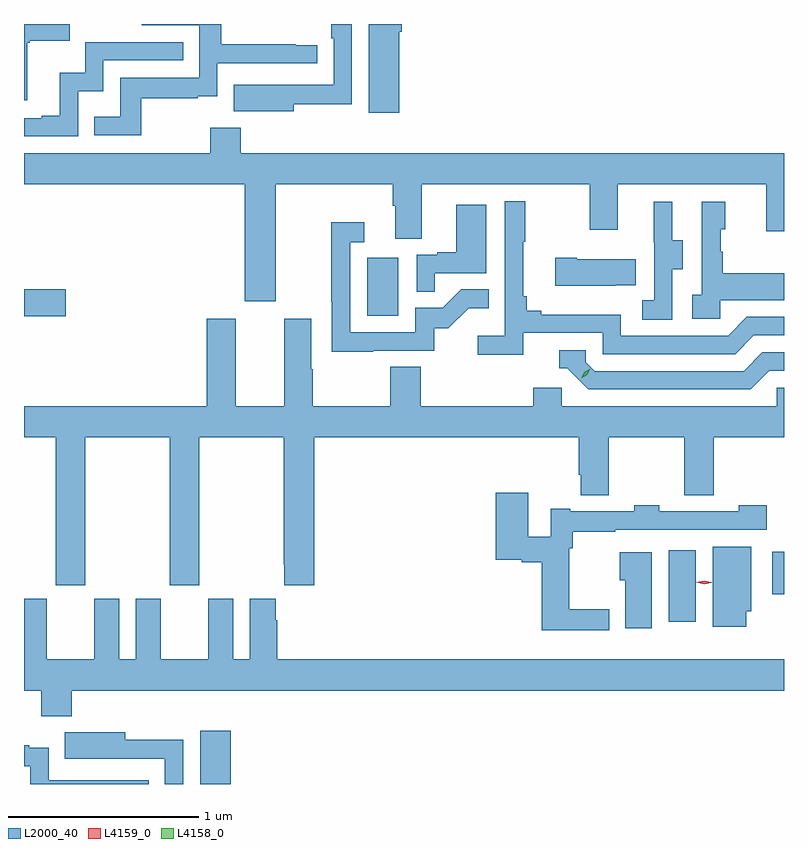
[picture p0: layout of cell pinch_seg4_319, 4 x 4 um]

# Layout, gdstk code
import gdstk
lib = gdstk.Library(unit=1e-6, precision=1e-09)
def R(c, l, rs):  # rectangles x0, y0, x1, y1
    for r in rs: c.add(gdstk.rectangle(r[:2], r[2:], *l))
def P(c, l, *ps):  # polygons
    for p in ps: c.add(gdstk.Polygon(p, *l))
L2000_40 = (2000, 40)
L4158_0 = (4158, 0)
L4159_0 = (4159, 0)

pinch_seg4_319 = lib.new_cell('pinch_seg4_319')
R(pinch_seg4_319, L2000_40, [(891.713,797.66,891.874,797.941), (894.179,798.513,894.322,798.889), (894.725,798.659,894.786,798.883), (890.786,800.122,891.007,800.264), (892.592,800.124,892.756,800.431)])
P(pinch_seg4_319, L2000_40, [(892.762,801.618),(892.774,801.618),(892.774,801.66),(892.601,801.66),(892.601,801.192),(892.762,801.192)],
  [(890.803,801.561),(890.815,801.561),(890.815,801.572),(891.028,801.572),(891.028,801.66),(890.786,801.66),(890.786,801.258),(890.803,801.258)],
  [(891.403,801.27),(891.701,801.27),(891.701,801.281),(891.804,801.281),(891.804,801.453),(892.33,801.453),(892.33,801.549),(892.217,801.549),(892.217,801.554),(891.824,801.554),(891.824,801.66),(891.407,801.66),(891.407,801.654),(891.708,801.654),(891.708,801.378),(891.292,801.378),(891.292,801.172),(891.157,801.172),(891.157,801.075),(891.403,801.075)],
  [(892.207,801.238),(892.512,801.238),(892.512,801.66),(892.403,801.66),(892.403,801.584),(892.416,801.584),(892.416,801.339),(892.103,801.339),(892.103,801.34),(891.889,801.34),(891.889,801.2),(892.207,801.2)],
  [(891.072,801.305),(891.204,801.305),(891.204,801.468),(891.623,801.468),(891.623,801.564),(891.108,801.564),(891.108,801.403),(890.975,801.403),(890.975,801.178),(890.879,801.178),(890.879,801.165),(890.786,801.165),(890.786,801.069),(891.072,801.069)],
  [(892.111,800.816),(892.727,800.816),(892.727,800.704),(892.739,800.704),(892.739,800.53),(892.879,800.53),(892.879,800.816),(893.764,800.816),(893.764,800.577),(893.911,800.577),(893.911,800.816),(894.692,800.816),(894.692,800.568),(894.786,800.568),(894.786,800.98),(891.926,800.98),(891.926,801.115),(891.766,801.115),(891.766,800.98),(890.786,800.98),(890.786,800.816),(891.947,800.816),(891.947,800.202),(892.111,800.202)],
  [(893.414,800.034),(893.832,800.034),(893.832,799.923),(894.529,799.923),(894.628,800.022),(894.786,800.022),(894.786,800.118),(894.591,800.118),(894.492,800.019),(893.928,800.019),(893.928,800.131),(893.509,800.131),(893.509,800.15),(893.432,800.15),(893.432,800.227),(893.413,800.227),(893.413,800.515),(893.425,800.515),(893.425,800.728),(893.316,800.728),(893.316,800.02),(893.175,800.02),(893.175,799.918),(893.414,799.918)],
  [(894.198,800.368),(894.253,800.368),(894.253,800.523),(894.199,800.523),(894.199,800.725),(894.101,800.725),(894.101,800.511),(894.102,800.511),(894.102,800.207),(894.039,800.207),(894.039,800.104),(894.198,800.104)],
  [(894.45,800.207),(894.786,800.207),(894.786,800.347),(894.463,800.347),(894.463,800.462),(894.453,800.462),(894.453,800.58),(894.478,800.58),(894.478,800.725),(894.354,800.725),(894.354,800.234),(894.303,800.234),(894.303,800.109),(894.45,800.109)],
  [(892.949,800.349),(893.218,800.349),(893.218,800.71),(893.06,800.71),(893.06,800.458),(892.961,800.458),(892.961,800.445),(892.854,800.445),(892.854,800.251),(892.949,800.251)],
  [(892.625,799.941),(892.944,799.941),(892.944,800.058),(893.02,800.058),(893.127,800.165),(893.231,800.165),(893.231,800.264),(893.087,800.264),(892.989,800.166),(892.845,800.166),(892.845,800.037),(892.503,800.037),(892.503,800.511),(892.576,800.511),(892.576,800.617),(892.402,800.617),(892.402,800.197),(892.407,800.197),(892.407,799.936),(892.625,799.936)],
  [(893.897,800.285),(894.005,800.285),(894.005,800.422),(893.695,800.422),(893.695,800.43),(893.583,800.43),(893.583,800.282),(893.897,800.282)],
  [(891.108,799.484),(891.553,799.484),(891.553,798.705),(891.708,798.705),(891.708,799.484),(892.153,799.484),(892.153,798.817),(892.157,798.817),(892.157,798.705),(892.313,798.705),(892.313,799.484),(893.705,799.484),(893.705,799.288),(893.717,799.288),(893.717,799.18),(893.864,799.18),(893.864,799.484),(894.262,799.484),(894.262,799.18),(894.416,799.18),(894.416,799.484),(894.786,799.484),(894.786,799.746),(894.747,799.746),(894.747,799.648),(893.616,799.648),(893.616,799.746),(893.465,799.746),(893.465,799.648),(892.874,799.648),(892.874,799.856),(892.714,799.856),(892.714,799.648),(892.305,799.648),(892.305,799.844),(892.297,799.844),(892.297,800.11),(892.157,800.11),(892.157,799.648),(891.901,799.648),(891.901,800.11),(891.749,800.11),(891.749,799.648),(890.786,799.648),(890.786,799.484),(890.953,799.484),(890.953,798.705),(891.108,798.705)],
  [(894.709,799.836),(894.786,799.836),(894.786,799.932),(894.672,799.932),(894.573,799.833),(893.79,799.833),(893.742,799.881),(893.742,799.944),(893.603,799.944),(893.603,799.848),(893.646,799.848),(893.757,799.737),(894.61,799.737)],
  [(893.866,798.58),(893.656,798.58),(893.656,798.902),(893.675,798.902),(893.675,798.987),(893.897,798.987),(893.897,798.999),(894.694,798.999),(894.694,799.128),(894.549,799.128),(894.549,799.095),(894.129,799.095),(894.129,799.128),(893.997,799.128),(893.997,799.095),(893.662,799.095),(893.662,799.108),(893.559,799.108),(893.559,798.962),(893.44,798.962),(893.44,799.192),(893.27,799.192),(893.27,798.839),(893.406,798.839),(893.406,798.827),(893.51,798.827),(893.51,798.47),(893.866,798.47)],
  [(894.586,798.57),(894.613,798.57),(894.613,798.91),(894.41,798.91),(894.41,798.488),(894.586,798.488)],
  [(894.091,798.88),(893.921,798.88),(893.921,798.733),(893.951,798.733),(893.951,798.48),(894.091,798.48)],
  [(891.038,798.152),(894.786,798.152),(894.786,798.316),(892.118,798.316),(892.118,798.521),(892.111,798.521),(892.111,798.634),(891.974,798.634),(891.974,798.316),(891.886,798.316),(891.886,798.634),(891.755,798.634),(891.755,798.316),(891.505,798.316),(891.505,798.634),(891.374,798.634),(891.374,798.316),(891.286,798.316),(891.286,798.634),(891.155,798.634),(891.155,798.316),(890.905,798.316),(890.905,798.634),(890.786,798.634),(890.786,798.152),(890.878,798.152),(890.878,798.017),(891.038,798.017)],
  [(891.624,797.894),(891.319,797.894),(891.319,797.932),(891.001,797.932),(891.001,797.792),(891.215,797.792),(891.215,797.793),(891.528,797.793),(891.528,797.66),(891.624,797.66)],
  [(891.442,797.679),(890.916,797.679),(890.916,797.851),(890.813,797.851),(890.813,797.863),(890.786,797.863),(890.786,797.754),(890.82,797.754),(890.82,797.66),(891.442,797.66)])
P(pinch_seg4_319, L4158_0, [(893.718,799.796),(893.718,799.796),(893.735,799.828),(893.766,799.846),(893.766,799.846),(893.766,799.846),(893.75,799.814),(893.719,799.796)])
P(pinch_seg4_319, L4159_0, [(894.365,798.711),(894.325,798.721),(894.325,798.721),(894.325,798.721),(894.365,798.731),(894.404,798.721),(894.405,798.721),(894.404,798.72)])

lib.write_gds('pinch_seg4_319.gds')
